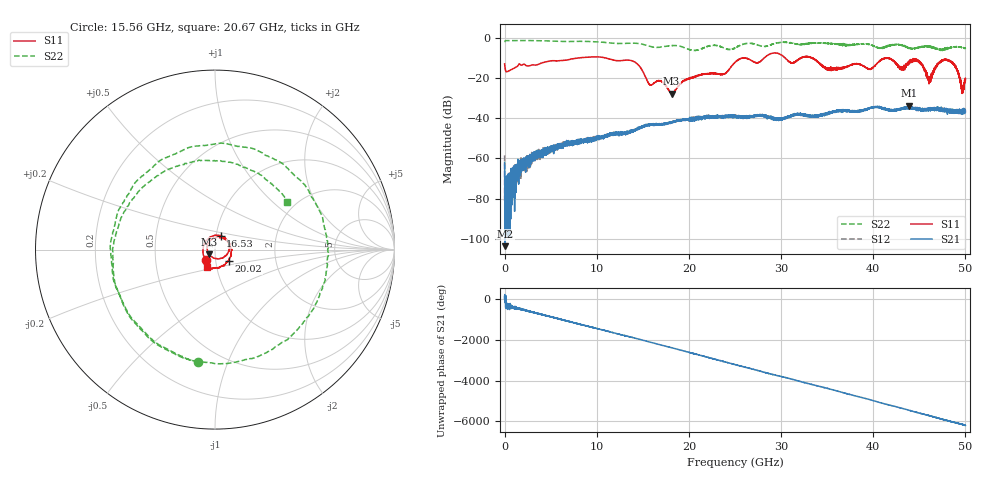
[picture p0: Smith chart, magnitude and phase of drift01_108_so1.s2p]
!Created with skrf (http://scikit-rf.org).
# Hz S RI R 50.0
!freq ReS11 ImS11 ReS21 ImS21 ReS12 ImS12 ReS22 ImS22
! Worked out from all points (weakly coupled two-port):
!   10001 points, 300 kHz to 50 GHz, reference 50 ohm
!   highest |S21| = -33.84 dB at 43.9 GHz (marker M1); lowest = -103.6 dB at 60.3 MHz (marker M2)
!   lowest |S11| = -27.7 dB at 18.12 GHz (marker M3), VSWR 1.09, Z = 46.8 - j2.37 ohm
!   |S11| at or under -10 dB: start of sweep to 8.069 GHz; 10.92 GHz to 26.01 GHz (15.09 GHz wide, 81.7 % of centre); 41.58 GHz to end of sweep (the widest 3 of 18)
!   |S22| runs from -6.4 to -1.4 dB; largest |S21 - S12| = 0.0042
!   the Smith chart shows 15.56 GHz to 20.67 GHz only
!   S11 on the Smith chart (normalised r, x): 15.56 GHz: 0.89, -0.11; 16.53 GHz: 1.05, +0.17; 20.02 GHz: 1.16, -0.15; 20.67 GHz: 0.89, -0.18
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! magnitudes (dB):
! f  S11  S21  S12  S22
! 300 kHz  -13.0  -61.9  -58.4  -2.1
! 60.3 MHz  -15.3  -103.6  -77.9  -1.6
! 255.3 MHz  -16.9  -74.5  -72.9  -1.4
! 2.545 GHz  -14.0  -62.3  -58.9  -1.4
! 8.335 GHz  -9.9  -50.3  -50.9  -1.8
! 13.88 GHz  -11.5  -46.6  -46.4  -2.7
! 15.56 GHz  -22.1  -43.3  -43.5  -4.0
! 16.53 GHz  -21.5  -43.2  -43.3  -4.8
! 16.67 GHz  -21.4  -43.4  -42.8  -4.8
! 18.12 GHz  -27.7  -41.7  -42.0  -3.9
! 20.02 GHz  -20.0  -40.8  -40.7  -5.9
! 20.67 GHz  -19.3  -39.6  -40.7  -6.3
! 25 GHz  -12.2  -39.3  -39.5  -5.1
! 33.34 GHz  -10.0  -39.3  -38.8  -2.7
! 35.39 GHz  -15.3  -37.4  -37.3  -3.0
! 41.67 GHz  -10.2  -35.6  -36.0  -4.2
! 43.9 GHz  -12.8  -33.8  -34.9  -5.1
! 44.96 GHz  -11.8  -35.3  -35.5  -4.7
! 46.12 GHz  -19.7  -35.2  -35.4  -4.3
! 48.12 GHz  -11.0  -36.0  -36.1  -5.3
! 49.63 GHz  -25.4  -36.6  -36.4  -4.7
! 50 GHz  -21.3  -36.9  -35.9  -5.3
